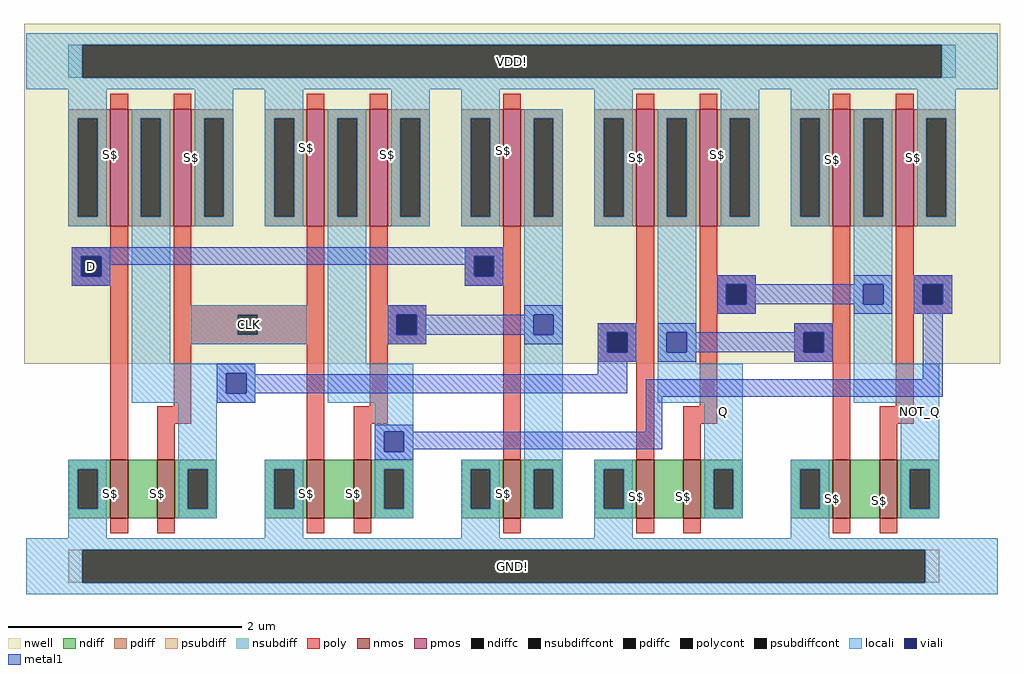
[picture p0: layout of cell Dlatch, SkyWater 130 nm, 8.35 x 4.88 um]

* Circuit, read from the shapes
.subckt Dlatch VDD! D CLK GND! Q NOT_Q
XM1 n1 D GND! GND! sky130_fd_pr__nfet_01v8 w=0.5 l=0.15
XM2 n2 CLK n1 GND! sky130_fd_pr__nfet_01v8 w=0.5 l=0.15
XM3 n3 CLK GND! GND! sky130_fd_pr__nfet_01v8 w=0.5 l=0.15
XM4 n4 n5 n3 GND! sky130_fd_pr__nfet_01v8 w=0.5 l=0.15
XM5 n5 D GND! GND! sky130_fd_pr__nfet_01v8 w=0.5 l=0.15
XM6 n6 n2 GND! GND! sky130_fd_pr__nfet_01v8 w=0.5 l=0.15
XM7 Q NOT_Q n6 GND! sky130_fd_pr__nfet_01v8 w=0.5 l=0.15
XM8 n7 Q GND! GND! sky130_fd_pr__nfet_01v8 w=0.5 l=0.15
XM9 NOT_Q n4 n7 GND! sky130_fd_pr__nfet_01v8 w=0.5 l=0.15
XM10 n2 D VDD! VDD! sky130_fd_pr__pfet_01v8 w=1 l=0.15
XM11 VDD! CLK n2 VDD! sky130_fd_pr__pfet_01v8 w=1 l=0.15
XM12 n4 CLK VDD! VDD! sky130_fd_pr__pfet_01v8 w=1 l=0.15
XM13 VDD! n5 n4 VDD! sky130_fd_pr__pfet_01v8 w=1 l=0.15
XM14 n5 D VDD! VDD! sky130_fd_pr__pfet_01v8 w=1 l=0.15
XM15 Q n2 VDD! VDD! sky130_fd_pr__pfet_01v8 w=1 l=0.15
XM16 VDD! NOT_Q Q VDD! sky130_fd_pr__pfet_01v8 w=1 l=0.15
XM17 NOT_Q Q VDD! VDD! sky130_fd_pr__pfet_01v8 w=1 l=0.15
XM18 VDD! n4 NOT_Q VDD! sky130_fd_pr__pfet_01v8 w=1 l=0.15
.ends

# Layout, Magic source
magic
tech sky130A
<< nwell >>
rect -42 135 793 426
<< nmos >>
rect 32 3 47 53
rect 72 3 87 53
rect 200 3 215 53
rect 240 3 255 53
rect 368 3 383 53
rect 482 3 497 53
rect 522 3 537 53
rect 650 3 665 53
rect 690 3 705 53
<< pmos >>
rect 32 253 47 353
rect 86 253 101 353
rect 200 253 215 353
rect 254 253 269 353
rect 368 253 383 353
rect 482 253 497 353
rect 536 253 551 353
rect 650 253 665 353
rect 704 253 719 353
<< ndiff >>
rect -4 45 32 53
rect -4 11 4 45
rect 21 11 32 45
rect -4 3 32 11
rect 47 3 72 53
rect 87 45 123 53
rect 87 11 98 45
rect 115 11 123 45
rect 87 3 123 11
rect 164 45 200 53
rect 164 11 172 45
rect 189 11 200 45
rect 164 3 200 11
rect 215 3 240 53
rect 255 45 291 53
rect 255 11 266 45
rect 283 11 291 45
rect 255 3 291 11
rect 332 45 368 53
rect 332 11 340 45
rect 357 11 368 45
rect 332 3 368 11
rect 383 45 419 53
rect 383 11 394 45
rect 411 11 419 45
rect 383 3 419 11
rect 446 45 482 53
rect 446 11 454 45
rect 471 11 482 45
rect 446 3 482 11
rect 497 3 522 53
rect 537 45 573 53
rect 537 11 548 45
rect 565 11 573 45
rect 537 3 573 11
rect 614 45 650 53
rect 614 11 622 45
rect 639 11 650 45
rect 614 3 650 11
rect 665 3 690 53
rect 705 45 741 53
rect 705 11 716 45
rect 733 11 741 45
rect 705 3 741 11
<< pdiff >>
rect -4 345 32 353
rect -4 261 4 345
rect 21 261 32 345
rect -4 253 32 261
rect 47 345 86 353
rect 47 261 58 345
rect 75 261 86 345
rect 47 253 86 261
rect 101 345 137 353
rect 101 261 112 345
rect 129 261 137 345
rect 101 253 137 261
rect 164 345 200 353
rect 164 261 172 345
rect 189 261 200 345
rect 164 253 200 261
rect 215 345 254 353
rect 215 261 226 345
rect 243 261 254 345
rect 215 253 254 261
rect 269 345 305 353
rect 269 261 280 345
rect 297 261 305 345
rect 269 253 305 261
rect 332 345 368 353
rect 332 261 340 345
rect 357 261 368 345
rect 332 253 368 261
rect 383 345 419 353
rect 383 261 394 345
rect 411 261 419 345
rect 383 253 419 261
rect 446 345 482 353
rect 446 261 454 345
rect 471 261 482 345
rect 446 253 482 261
rect 497 345 536 353
rect 497 261 508 345
rect 525 261 536 345
rect 497 253 536 261
rect 551 345 587 353
rect 551 261 562 345
rect 579 261 587 345
rect 551 253 587 261
rect 614 345 650 353
rect 614 261 622 345
rect 639 261 650 345
rect 614 253 650 261
rect 665 345 704 353
rect 665 261 676 345
rect 693 261 704 345
rect 665 253 704 261
rect 719 345 755 353
rect 719 261 730 345
rect 747 261 755 345
rect 719 253 755 261
<< ndiffc >>
rect 4 11 21 45
rect 98 11 115 45
rect 172 11 189 45
rect 266 11 283 45
rect 340 11 357 45
rect 394 11 411 45
rect 454 11 471 45
rect 548 11 565 45
rect 622 11 639 45
rect 716 11 733 45
<< pdiffc >>
rect 4 261 21 345
rect 58 261 75 345
rect 112 261 129 345
rect 172 261 189 345
rect 226 261 243 345
rect 280 261 297 345
rect 340 261 357 345
rect 394 261 411 345
rect 454 261 471 345
rect 508 261 525 345
rect 562 261 579 345
rect 622 261 639 345
rect 676 261 693 345
rect 730 261 747 345
<< psubdiff >>
rect -4 -52 8 -24
rect 729 -52 741 -24
<< nsubdiff >>
rect -4 380 8 408
rect 743 380 755 408
<< psubdiffcont >>
rect 8 -52 729 -24
<< nsubdiffcont >>
rect 8 380 743 408
<< poly >>
rect 32 353 47 366
rect 86 353 101 366
rect 200 353 215 366
rect 254 353 269 366
rect 368 353 383 366
rect 482 353 497 366
rect 536 353 551 366
rect 650 353 665 366
rect 704 353 719 366
rect 32 235 47 253
rect -1 227 47 235
rect -1 210 7 227
rect 24 210 47 227
rect -1 202 47 210
rect 32 53 47 202
rect 86 185 101 253
rect 200 185 215 253
rect 86 177 215 185
rect 86 160 141 177
rect 158 160 215 177
rect 86 152 215 160
rect 86 99 101 152
rect 72 84 101 99
rect 72 53 87 84
rect 200 53 215 152
rect 254 185 269 253
rect 368 235 383 253
rect 335 227 383 235
rect 335 210 343 227
rect 360 210 383 227
rect 335 202 383 210
rect 254 177 302 185
rect 254 160 277 177
rect 294 160 302 177
rect 254 152 302 160
rect 254 99 269 152
rect 240 84 269 99
rect 240 53 255 84
rect 368 53 383 202
rect 482 170 497 253
rect 449 162 497 170
rect 449 145 457 162
rect 474 145 497 162
rect 449 137 497 145
rect 482 53 497 137
rect 536 211 551 253
rect 536 203 584 211
rect 536 186 559 203
rect 576 186 584 203
rect 536 178 584 186
rect 536 99 551 178
rect 650 170 665 253
rect 617 162 665 170
rect 617 145 625 162
rect 642 145 665 162
rect 617 137 665 145
rect 522 84 551 99
rect 522 53 537 84
rect 650 53 665 137
rect 704 211 719 253
rect 704 203 752 211
rect 704 186 727 203
rect 744 186 752 203
rect 704 178 752 186
rect 704 99 719 178
rect 690 84 719 99
rect 690 53 705 84
rect 32 -10 47 3
rect 72 -10 87 3
rect 200 -10 215 3
rect 240 -10 255 3
rect 368 -10 383 3
rect 482 -10 497 3
rect 522 -10 537 3
rect 650 -10 665 3
rect 690 -10 705 3
<< polycont >>
rect 7 210 24 227
rect 141 160 158 177
rect 343 210 360 227
rect 277 160 294 177
rect 457 145 474 162
rect 559 186 576 203
rect 625 145 642 162
rect 727 186 744 203
<< locali >>
rect -40 408 791 418
rect -40 380 8 408
rect 743 380 791 408
rect -40 370 791 380
rect -4 345 29 370
rect -4 261 4 345
rect 21 261 29 345
rect -4 253 29 261
rect 50 345 83 353
rect 50 261 58 345
rect 75 261 83 345
rect -1 227 32 235
rect -1 210 7 227
rect 24 210 32 227
rect -1 202 32 210
rect 50 135 83 261
rect 104 345 137 370
rect 104 261 112 345
rect 129 261 137 345
rect 104 253 137 261
rect 164 345 197 370
rect 164 261 172 345
rect 189 261 197 345
rect 164 253 197 261
rect 218 345 251 353
rect 218 261 226 345
rect 243 261 251 345
rect 101 177 200 185
rect 101 160 141 177
rect 158 160 200 177
rect 101 152 200 160
rect 218 135 251 261
rect 272 345 305 370
rect 272 261 280 345
rect 297 261 305 345
rect 272 253 305 261
rect 332 345 365 370
rect 332 261 340 345
rect 357 261 365 345
rect 332 253 365 261
rect 386 345 419 353
rect 386 261 394 345
rect 411 261 419 345
rect 335 227 368 235
rect 335 210 343 227
rect 360 210 368 227
rect 335 202 368 210
rect 269 177 302 185
rect 269 160 277 177
rect 294 160 302 177
rect 269 152 302 160
rect 386 177 419 261
rect 446 345 479 370
rect 446 261 454 345
rect 471 261 479 345
rect 446 253 479 261
rect 500 345 533 353
rect 500 261 508 345
rect 525 261 533 345
rect 386 160 394 177
rect 411 160 419 177
rect 50 127 156 135
rect 50 110 131 127
rect 148 110 156 127
rect 50 102 156 110
rect 218 102 291 135
rect -4 45 29 53
rect -4 11 4 45
rect 21 11 29 45
rect -4 -14 29 11
rect 90 45 123 102
rect 258 77 291 102
rect 258 60 266 77
rect 283 60 291 77
rect 90 11 98 45
rect 115 11 123 45
rect 90 3 123 11
rect 164 45 197 53
rect 164 11 172 45
rect 189 11 197 45
rect 164 -14 197 11
rect 258 45 291 60
rect 258 11 266 45
rect 283 11 291 45
rect 258 3 291 11
rect 332 45 365 53
rect 332 11 340 45
rect 357 11 365 45
rect 332 -14 365 11
rect 386 45 419 160
rect 449 162 482 170
rect 449 145 457 162
rect 474 145 482 162
rect 449 137 482 145
rect 500 162 533 261
rect 554 345 587 370
rect 554 261 562 345
rect 579 261 587 345
rect 554 253 587 261
rect 614 345 647 370
rect 614 261 622 345
rect 639 261 647 345
rect 614 253 647 261
rect 668 345 701 353
rect 668 261 676 345
rect 693 261 701 345
rect 551 203 584 211
rect 551 186 559 203
rect 576 186 584 203
rect 551 178 584 186
rect 668 203 701 261
rect 722 345 755 370
rect 722 261 730 345
rect 747 261 755 345
rect 722 253 755 261
rect 668 186 676 203
rect 693 186 701 203
rect 500 145 508 162
rect 525 145 533 162
rect 500 135 533 145
rect 617 162 650 170
rect 617 145 625 162
rect 642 145 650 162
rect 617 137 650 145
rect 668 135 701 186
rect 719 203 752 211
rect 719 186 727 203
rect 744 186 752 203
rect 719 178 752 186
rect 500 102 573 135
rect 668 102 741 135
rect 386 11 394 45
rect 411 11 419 45
rect 386 3 419 11
rect 446 45 479 53
rect 446 11 454 45
rect 471 11 479 45
rect 446 -14 479 11
rect 540 45 573 102
rect 540 11 548 45
rect 565 11 573 45
rect 540 3 573 11
rect 614 45 647 53
rect 614 11 622 45
rect 639 11 647 45
rect 614 -14 647 11
rect 708 45 741 102
rect 708 11 716 45
rect 733 11 741 45
rect 708 3 741 11
rect -40 -24 791 -14
rect -40 -52 8 -24
rect 729 -52 791 -24
rect -40 -62 791 -52
<< viali >>
rect 7 210 24 227
rect 343 210 360 227
rect 277 160 294 177
rect 394 160 411 177
rect 131 110 148 127
rect 266 60 283 77
rect 457 145 474 162
rect 559 186 576 203
rect 676 186 693 203
rect 508 145 525 162
rect 625 145 642 162
rect 727 186 744 203
<< metal1 >>
rect -1 227 368 235
rect -1 210 7 227
rect 24 220 343 227
rect 24 210 32 220
rect -1 202 32 210
rect 335 210 343 220
rect 360 210 368 227
rect 335 202 368 210
rect 551 203 584 211
rect 668 203 701 211
rect 551 186 559 203
rect 576 186 676 203
rect 693 186 701 203
rect 269 177 302 185
rect 386 177 419 185
rect 551 178 584 186
rect 668 178 701 186
rect 719 203 752 211
rect 719 186 727 203
rect 744 186 752 203
rect 719 178 752 186
rect 269 160 277 177
rect 294 160 394 177
rect 411 160 419 177
rect 269 152 302 160
rect 386 152 419 160
rect 449 162 482 170
rect 449 145 457 162
rect 474 145 482 162
rect 449 137 482 145
rect 500 162 533 170
rect 617 162 650 170
rect 500 145 508 162
rect 525 145 625 162
rect 642 145 650 162
rect 500 137 533 145
rect 617 137 650 145
rect 123 127 156 135
rect 123 110 131 127
rect 148 126 156 127
rect 449 126 474 137
rect 148 110 474 126
rect 727 122 744 178
rect 123 102 156 110
rect 490 107 744 122
rect 258 77 291 83
rect 490 77 504 107
rect 258 60 266 77
rect 283 62 504 77
rect 283 60 291 62
rect 258 53 291 60
<< labels >>
flabel locali -40 -62 791 -14 0 FreeSerif 80 0 0 0 GND!
port 11 nsew
flabel locali -40 370 791 418 0 FreeSerif 80 0 0 0 VDD!
port 0 nsew
flabel locali s -1 202 32 235 0 FreeSerif 80 0 0 0 D
port 1 nsew
flabel locali s 101 152 200 185 0 FreeSerif 80 0 0 0 CLK
port 6 nsew
flabel locali s 540 53 573 135 0 FreeSerif 80 0 0 0 Q
port 22 nsew
flabel locali s 708 53 741 135 0 FreeSerif 80 0 0 0 NOT_Q
port 23 nsew
rlabel ndiff 32 24 32 24 0 S$
rlabel ndiff 72 24 72 24 0 S$
rlabel ndiff 200 24 200 24 0 S$
rlabel ndiff 240 24 240 24 0 S$
rlabel ndiff 368 24 368 24 0 S$
rlabel ndiff 482 22 482 22 0 S$
rlabel ndiff 522 22 522 22 0 S$
rlabel ndiff 650 20 650 20 0 S$
rlabel ndiff 690 18 690 18 0 S$
rlabel pdiff 719 312 719 312 0 S$
rlabel pdiff 650 310 650 310 0 S$
rlabel pdiff 551 314 551 314 0 S$
rlabel pdiff 482 312 482 312 0 S$
rlabel pdiff 368 318 368 318 0 S$
rlabel pdiff 269 314 269 314 0 S$
rlabel pdiff 200 320 200 320 0 S$
rlabel pdiff 101 312 101 312 0 S$
rlabel pdiff 32 314 32 314 0 S$
<< end >>
